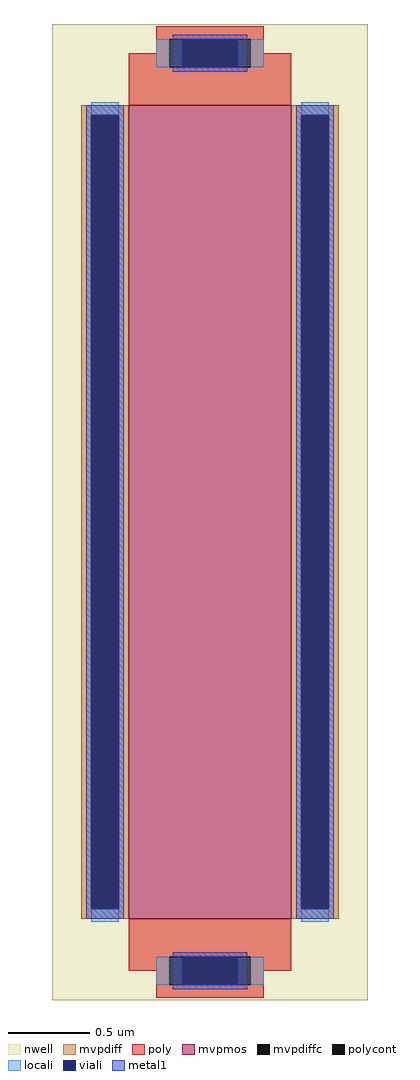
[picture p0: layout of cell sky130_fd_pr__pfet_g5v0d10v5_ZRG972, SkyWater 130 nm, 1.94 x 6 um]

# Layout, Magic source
magic
tech sky130A
magscale 1 2
<< nwell >>
rect -194 -600 194 600
<< mvpmos >>
rect -100 -500 100 500
<< mvpdiff >>
rect -158 488 -100 500
rect -158 -488 -146 488
rect -112 -488 -100 488
rect -158 -500 -100 -488
rect 100 488 158 500
rect 100 -488 112 488
rect 146 -488 158 488
rect 100 -500 158 -488
<< mvpdiffc >>
rect -146 -488 -112 488
rect 112 -488 146 488
<< poly >>
rect -66 581 66 597
rect -66 564 -50 581
rect -100 547 -50 564
rect 50 564 66 581
rect 50 547 100 564
rect -100 500 100 547
rect -100 -547 100 -500
rect -100 -564 -50 -547
rect -66 -581 -50 -564
rect 50 -564 100 -547
rect 50 -581 66 -564
rect -66 -597 66 -581
<< polycont >>
rect -50 547 50 581
rect -50 -581 50 -547
<< locali >>
rect -66 547 -50 581
rect 50 547 66 581
rect -146 488 -112 504
rect -146 -504 -112 -488
rect 112 488 146 504
rect 112 -504 146 -488
rect -66 -581 -50 -547
rect 50 -581 66 -547
<< viali >>
rect -34 547 34 581
rect -146 -488 -112 488
rect 112 -488 146 488
rect -34 -581 34 -547
<< metal1 >>
rect -46 581 46 587
rect -46 547 -34 581
rect 34 547 46 581
rect -46 541 46 547
rect -152 488 -106 500
rect -152 -488 -146 488
rect -112 -488 -106 488
rect -152 -500 -106 -488
rect 106 488 152 500
rect 106 -488 112 488
rect 146 -488 152 488
rect 106 -500 152 -488
rect -46 -547 46 -541
rect -46 -581 -34 -547
rect 34 -581 46 -547
rect -46 -587 46 -581
<< properties >>
string gencell sky130_fd_pr__pfet_g5v0d10v5
string parameters w 5 l 1 m 1 nf 1 diffcov 100 polycov 60 guard 0 glc 0 grc 0 gtc 0 gbc 0 tbcov 100 rlcov 100 topc 1 botc 1 poverlap 0 doverlap 1 lmin 0.50 wmin 0.42 compatible {sky130_fd_pr__pfet_01v8  sky130_fd_pr__pfet_01v8_lvt sky130_fd_pr__pfet_01v8_hvt  sky130_fd_pr__pfet_g5v0d10v5} full_metal 0 viasrc 100 viadrn 100 viagate 40 viagb 0 viagr 0 viagl 0 viagt 0
string library sky130
<< end >>
